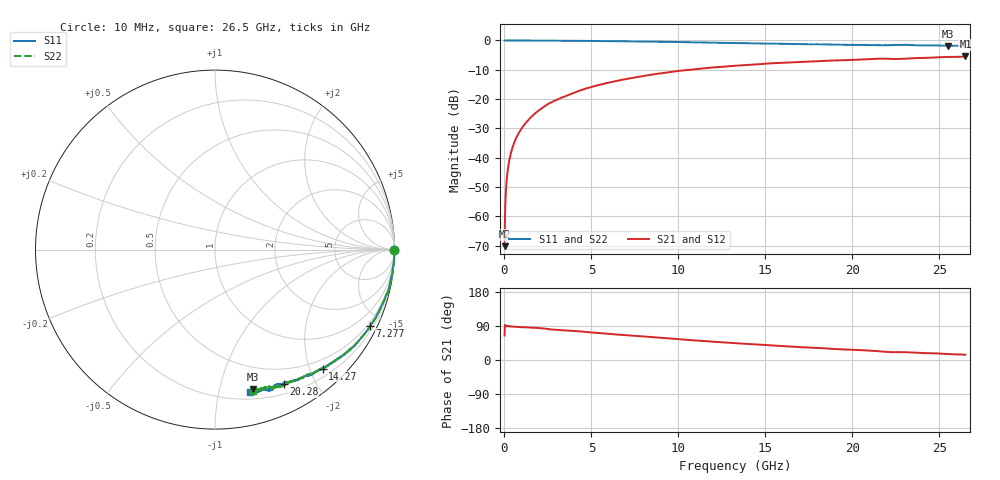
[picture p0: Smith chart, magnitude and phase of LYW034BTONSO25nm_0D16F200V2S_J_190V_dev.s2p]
!Keysight Technologies,N5222B,MY61253708,A.15.00.15
!Date: Wednesday, June 19, 2024 10:36:49
!Correction: S11(C  2-Port  )
!S21(C  2-Port  )
!S12(C  2-Port  )
!S22(C  2-Port  )
!S2P File: Measurements: S11, S21, S12, S22:
# Hz S  RI  R 50
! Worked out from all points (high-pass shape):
!   2651 points, 10 MHz to 26.5 GHz, reference 50 ohm
!   highest |S21| = -5.46 dB at 26.5 GHz (marker M1); lowest = -70.2 dB at 10 MHz (marker M2)
!   |S21| within 3 dB of the highest: 13.64171 GHz to 13.65762 GHz (15.9 MHz wide, 0.117 % of centre); 13.7 GHz to end of sweep
!   lowest |S11| = -1.9 dB at 25.5 GHz (marker M3), VSWR 9.33, Z = 14.3 - j63.6 ohm
!   |S11| at or under -10 dB: nowhere
!   |S22| runs from -1.8 to 0.0 dB; largest |S21 - S12| = 0.0069
!   S11 on the Smith chart (normalised r, x): 10 MHz: open; 7.277 GHz: 0.35, -4.27; 14.27 GHz: 0.34, -2.21; 20.28 GHz: 0.31, -1.59; 26.5 GHz: 0.26, -1.24
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1e7  0.9986 -0.00364  0.000134 0.00028  -0.000313 0.000199  0.9985 -0.00175
6.997736e7  1 -0.00519  1.54e-05 0.00224  4.05e-05 0.00229  0.9999 -0.00469
1.599434e8  0.9999 -0.0112  4.14e-05 0.00517  4.35e-05 0.00517  0.9997 -0.0103
1.999283e8  1 -0.0133  9.05e-05 0.00646  0.000115 0.00647  0.9998 -0.0125
2.599057e8  0.9996 -0.0174  9.93e-05 0.00837  0.000153 0.00841  0.9997 -0.0163
3.598679e8  0.9996 -0.0242  0.000285 0.0116  0.000248 0.0117  0.9997 -0.0233
4.898189e8  0.9986 -0.0325  0.000493 0.0158  0.000526 0.0159  0.9983 -0.0311
6.497585e8  0.9986 -0.0424  0.000853 0.0209  0.000846 0.021  0.9987 -0.0406
8.396868e8  0.9979 -0.0548  0.0014 0.0269  0.00144 0.027  0.998 -0.0538
1.449457e9  0.9911 -0.0956  0.00327 0.0467  0.00331 0.0468  0.9933 -0.0914
2.339121e9  0.9824 -0.1495  0.00953 0.0763  0.0097 0.0765  0.9838 -0.149
3.218789e9  0.9721 -0.2045  0.0202 0.1018  0.0203 0.1022  0.9733 -0.2024
4.428332e9  0.9451 -0.2757  0.0365 0.1384  0.0368 0.1389  0.9472 -0.2719
7.277257e9  0.8652 -0.4259  0.098 0.2054  0.0989 0.2058  0.8679 -0.4222
8.846664e9  0.8105 -0.4965  0.1395 0.2331  0.1406 0.2333  0.8132 -0.4929
1.3255e10  0.6384 -0.6387  0.264 0.2596  0.2658 0.2591  0.6445 -0.6352
1.427462e10  0.5998 -0.6628  0.29 0.2573  0.292 0.2565  0.6054 -0.6568
1.767333e10  0.4685 -0.7215  0.3696 0.2348  0.3725 0.2331  0.4818 -0.7171
2.028235e10  0.3819 -0.7479  0.4211 0.209  0.4231 0.2067  0.4019 -0.7477
2.209166e10  0.3332 -0.7577  0.4536 0.1753  0.4547 0.1726  0.3309 -0.7628
2.550038e10  0.2133 -0.7777  0.5039 0.1399  0.5048 0.1398  0.2375 -0.7797
2.65e10  0.1938 -0.7925  0.5176 0.1291  0.5164 0.1254  0.2111 -0.7903
